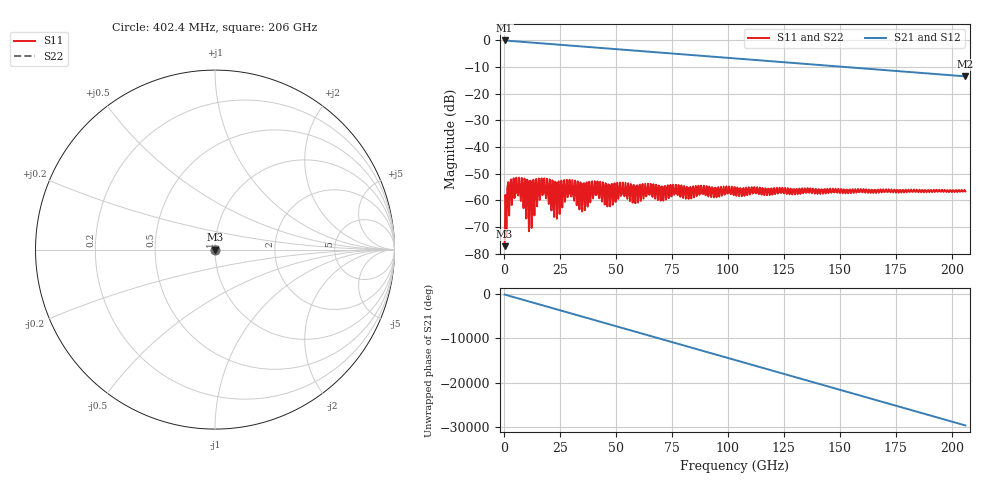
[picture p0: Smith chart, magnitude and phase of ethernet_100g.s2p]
! SPIKE edited channel only; endpoint loading is reported separately.
! Request SHA256 a80eea0500420a3bcf65cdb92c484ba6f1a04490033332b67202bccc447706dc
! Ports use the explicit edited network order.
# Hz S RI R 100
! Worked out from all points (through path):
!   512 points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, 402.4 MHz to 206 GHz, reference 100 ohm
!   highest |S21| = -0.05 dB at 402.4 MHz (marker M1); lowest = -13.5 dB at 206 GHz (marker M2)
!   lowest |S11| = -77.2 dB at 402.4 MHz (marker M3), VSWR 1.00, Z = 100 - j0.0234 ohm
!   |S11| at or under -10 dB: start of sweep to end of sweep
!   |S22| runs from -77.2 to -51.5 dB; largest |S21 - S12| = 3.9e-14
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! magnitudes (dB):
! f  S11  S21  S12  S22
! 402.4 MHz  -77.2  -0.1  -0.1  -77.2
! 1.207 GHz  -73.7  -0.1  -0.1  -73.7
! 2.415 GHz  -65.7  -0.2  -0.2  -65.7
! 3.622 GHz  -61.8  -0.3  -0.3  -61.8
! 10.06 GHz  -66.8  -0.7  -0.7  -66.8
! 10.46 GHz  -52.2  -0.7  -0.7  -52.2
! 11.27 GHz  -71.6  -0.8  -0.8  -71.6
! 12.07 GHz  -52.7  -0.8  -0.8  -52.7
! 12.48 GHz  -70.4  -0.8  -0.8  -70.4
! 13.28 GHz  -52.3  -0.9  -0.9  -52.3
! 13.68 GHz  -65.7  -0.9  -0.9  -65.7
! 14.49 GHz  -52.0  -1.0  -1.0  -52.0
! 14.89 GHz  -62.3  -1.0  -1.0  -62.3
! 22.54 GHz  -66.2  -1.5  -1.5  -66.2
! 22.94 GHz  -53.0  -1.5  -1.5  -53.0
! 23.74 GHz  -66.9  -1.6  -1.6  -66.9
! 35.01 GHz  -64.2  -2.3  -2.3  -64.2
! 69.22 GHz  -54.4  -4.6  -4.6  -54.4
! 103.4 GHz  -56.2  -6.8  -6.8  -56.2
! 137.6 GHz  -57.4  -9.0  -9.0  -57.4
! 171.8 GHz  -55.9  -11.3  -11.3  -55.9
! 206 GHz  -56.7  -13.5  -13.5  -56.7
